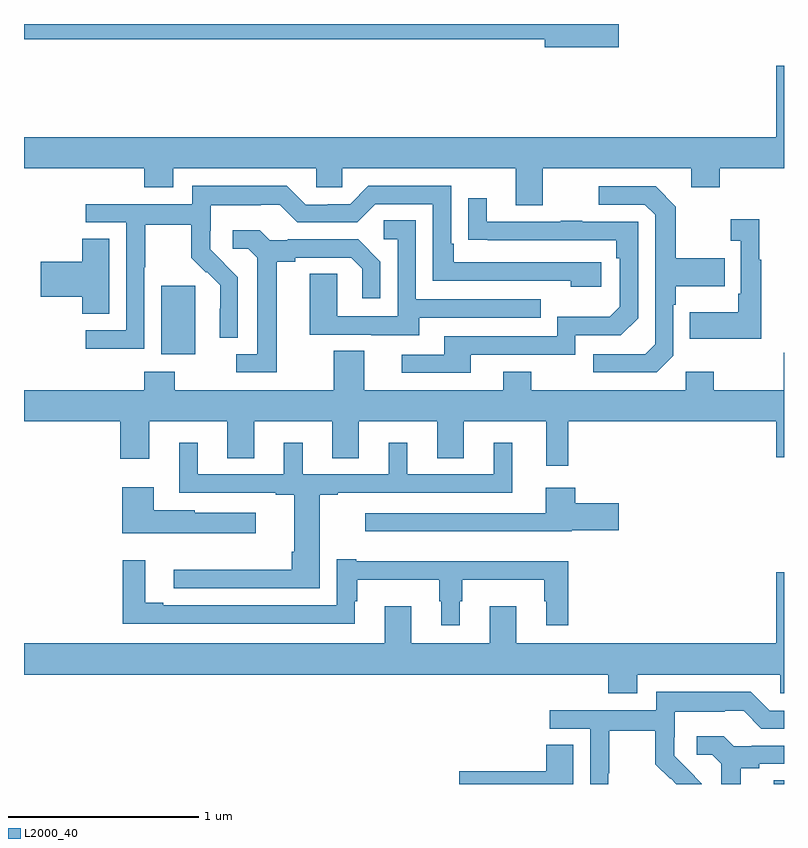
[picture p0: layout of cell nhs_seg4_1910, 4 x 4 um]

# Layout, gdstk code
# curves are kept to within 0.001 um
import gdstk
lib = gdstk.Library(unit=1e-6, precision=1e-09)
def R(c, l, rs):  # rectangles x0, y0, x1, y1
    for r in rs: c.add(gdstk.rectangle(r[:2], r[2:], *l))
def P(c, l, *ps):  # polygons
    for p in ps: c.add(gdstk.Polygon(p, *l))
L2000_40 = (2000, 40)

nhs_seg4_1910 = lib.new_cell('nhs_seg4_1910')
R(nhs_seg4_1910, L2000_40, [(212.945,806.9,213,806.921), (209.723,809.162,209.902,809.523)])
P(nhs_seg4_1910, L2000_40, [(212.131,810.9),(209,810.9),(209,810.82),(211.742,810.82),(211.742,810.778),(212.131,810.778)],
  [(211.729,810.14),(212.513,810.14),(212.513,810.041),(212.661,810.041),(212.661,810.14),(213,810.14),(213,810.679),(212.96,810.679),(212.96,810.304),(209,810.304),(209,810.14),(209.633,810.14),(209.633,810.041),(209.785,810.041),(209.785,810.14),(210.537,810.14),(210.537,810.042),(210.675,810.042),(210.675,810.14),(211.589,810.14),(211.589,809.946),(211.729,809.946)],
  [(209.634,809.62),(209.637,809.62),(209.637,809.844),(209.881,809.844),(209.881,809.669),(209.958,809.592),(209.961,809.595),(210.032,809.525),(210.032,809.402),(210.03,809.402),(210.03,809.248),(210.126,809.248),(210.126,809.566),(209.98,809.714),(209.98,809.811),(209.982,809.811),(209.982,809.945),(210.245,809.945),(210.245,809.949),(210.345,809.949),(210.438,809.856),(210.753,809.856),(210.849,809.952),(211.152,809.952),(211.152,809.55),(211.877,809.55),(211.877,809.516),(212.038,809.516),(212.038,809.646),(211.261,809.646),(211.261,809.743),(211.248,809.743),(211.248,810.048),(210.813,810.048),(210.717,809.952),(210.599,809.952),(210.599,809.949),(210.483,809.949),(210.383,810.049),(209.886,810.049),(209.886,809.952),(209.325,809.952),(209.325,809.856),(209.538,809.856),(209.538,809.289),(209.325,809.289),(209.325,809.191),(209.634,809.191)],
  [(212.418,809.154),(212.418,809.423),(212.431,809.423),(212.431,809.519),(212.687,809.519),(212.687,809.667),(212.431,809.667),(212.431,809.939),(212.325,810.045),(212.025,810.045),(212.025,809.949),(212.268,809.949),(212.322,809.895),(212.322,809.214),(212.271,809.163),(211.995,809.163),(211.995,809.067),(212.331,809.067)],
  [(211.351,809.16),(211.902,809.16),(211.902,809.262),(212.142,809.262),(212.232,809.352),(212.232,809.859),(211.937,809.859),(211.937,809.864),(211.825,809.864),(211.825,809.859),(211.435,809.859),(211.435,809.983),(211.339,809.983),(211.339,809.764),(212.116,809.763),(212.116,809.666),(212.136,809.666),(212.136,809.412),(212.083,809.359),(211.806,809.359),(211.806,809.256),(211.211,809.256),(211.211,809.16),(210.987,809.16),(210.987,809.064),(211.351,809.064)],
  [(212.881,809.659),(212.869,809.659),(212.869,809.872),(212.721,809.872),(212.721,809.759),(212.772,809.759),(212.772,809.479),(212.76,809.479),(212.76,809.383),(212.503,809.383),(212.503,809.243),(212.881,809.243)],
  [(211.081,809.355),(211.721,809.355),(211.721,809.451),(211.062,809.451),(211.062,809.867),(210.894,809.867),(210.894,809.766),(210.966,809.766),(210.966,809.361),(210.648,809.361),(210.648,809.585),(210.503,809.585),(210.503,809.265),(210.827,809.265),(210.827,809.261),(211.081,809.261)],
  [(210.331,809.648),(210.427,809.648),(210.427,809.67),(210.722,809.67),(210.779,809.613),(210.779,809.457),(210.876,809.457),(210.876,809.65),(210.76,809.766),(210.388,809.766),(210.388,809.763),(210.294,809.763),(210.242,809.815),(210.099,809.815),(210.099,809.718),(210.18,809.718),(210.227,809.671),(210.227,809.163),(210.117,809.163),(210.117,809.067),(210.331,809.067)],
  [(209.449,809.771),(209.306,809.771),(209.306,809.648),(209.088,809.648),(209.088,809.465),(209.306,809.465),(209.306,809.374),(209.449,809.374)],
  [(211.523,809.071),(211.523,808.972),(210.79,808.972),(210.79,809.18),(210.629,809.18),(210.629,808.972),(209.793,808.972),(209.793,809.071),(209.633,809.071),(209.633,808.972),(209,808.972),(209,808.808),(209.507,808.808),(209.507,808.611),(209.659,808.611),(209.659,808.808),(210.071,808.808),(210.071,808.615),(210.211,808.615),(210.211,808.808),(210.623,808.808),(210.623,808.615),(210.763,808.615),(210.763,808.808),(211.175,808.808),(211.175,808.615),(211.315,808.615),(211.315,808.808),(211.748,808.808),(211.748,808.575),(211.865,808.575),(211.865,808.808),(212.96,808.808),(212.96,808.62),(213,808.62),(213,809.171),(212.998,809.171),(212.998,808.972),(212.631,808.972),(212.631,809.071),(212.484,809.071),(212.484,808.972),(211.671,808.972),(211.671,809.071)],
  [(210.556,808.422),(210.652,808.422),(210.652,808.434),(211.571,808.434),(211.571,808.696),(211.472,808.696),(211.472,808.53),(211.018,808.53),(211.018,808.696),(210.92,808.696),(210.92,808.53),(210.466,808.53),(210.466,808.696),(210.368,808.696),(210.368,808.53),(209.914,808.53),(209.914,808.696),(209.816,808.696),(209.816,808.434),(210.326,808.434),(210.326,808.422),(210.422,808.422),(210.422,808.123),(210.41,808.123),(210.41,808.028),(209.787,808.028),(209.787,807.93),(210.556,807.93)],
  [(210.22,808.327),(209.898,808.327),(209.898,808.342),(209.683,808.342),(209.683,808.462),(209.516,808.462),(209.516,808.22),(210.22,808.22)],
  [(211.884,808.235),(212.131,808.235),(212.131,808.377),(211.901,808.377),(211.901,808.459),(211.745,808.459),(211.745,808.326),(210.795,808.326),(210.795,808.229),(211.884,808.229)],
  [(211.294,807.863),(211.306,807.863),(211.306,807.974),(211.737,807.974),(211.737,807.863),(211.748,807.863),(211.748,807.735),(211.865,807.735),(211.865,808.072),(210.748,808.072),(210.748,808.084),(210.645,808.084),(210.645,807.84),(209.734,807.84),(209.734,807.853),(209.638,807.853),(209.638,808.078),(209.521,808.078),(209.521,807.744),(210.742,807.744),(210.742,807.863),(210.754,807.863),(210.754,807.974),(211.185,807.974),(211.185,807.863),(211.196,807.863),(211.196,807.735),(211.294,807.735)],
  [(212.227,807.476),(212.979,807.476),(212.979,807.378),(213,807.378),(213,808.015),(212.96,808.015),(212.96,807.64),(211.591,807.64),(211.591,807.835),(211.451,807.835),(211.451,807.64),(211.039,807.64),(211.039,807.835),(210.899,807.835),(210.899,807.64),(209,807.64),(209,807.476),(212.075,807.476),(212.075,807.377),(212.227,807.377)],
  [(212.076,806.956),(212.079,806.956),(212.079,807.18),(212.323,807.18),(212.323,807.005),(212.4,806.928),(212.403,806.931),(212.434,806.9),(212.568,806.9),(212.568,806.902),(212.495,806.975),(212.496,806.976),(212.422,807.05),(212.422,807.147),(212.424,807.147),(212.424,807.281),(212.687,807.281),(212.687,807.285),(212.787,807.285),(212.88,807.192),(213,807.192),(213,807.285),(212.925,807.285),(212.825,807.385),(212.328,807.385),(212.328,807.288),(211.767,807.288),(211.767,807.192),(211.98,807.192),(211.98,806.9),(212.076,806.9)],
  [(212.773,806.984),(212.869,806.984),(212.869,807.006),(213,807.006),(213,807.102),(212.83,807.102),(212.83,807.099),(212.736,807.099),(212.684,807.151),(212.541,807.151),(212.541,807.054),(212.622,807.054),(212.669,807.007),(212.669,806.9),(212.773,806.9)],
  [(211.891,807.107),(211.748,807.107),(211.748,806.966),(211.29,806.966),(211.29,806.9),(211.891,806.9)])

lib.write_gds('nhs_seg4_1910.gds')
